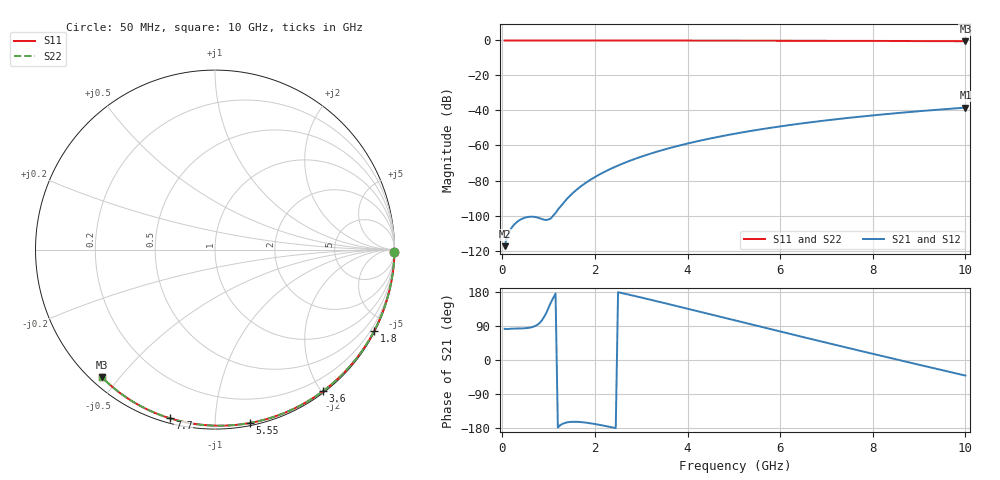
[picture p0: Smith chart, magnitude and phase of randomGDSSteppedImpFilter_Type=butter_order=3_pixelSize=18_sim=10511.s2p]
! freq	dB(S11)	phase(S11)	dB(S12)	phase(S12)
!  dB(S21)	phase(S21)	dB(S22)	phase(S22)
!S-par simulation data
#  GHz  S  DB  R 50
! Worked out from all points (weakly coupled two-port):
!   200 points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, 50 MHz to 10 GHz, reference 50 ohm
!   highest |S21| = -38.39 dB at 10 GHz (marker M1); lowest = -117.5 dB at 50 MHz (marker M2)
!   lowest |S11| = -0.4 dB at 10 GHz (marker M3), VSWR 39.09, Z = 1.54 - j22.5 ohm
!   |S11| at or under -10 dB: nowhere
!   |S22| runs from -0.4 to 0.0 dB; largest |S21 - S12| = 0
!   S11 on the Smith chart (normalised r, x): 50 MHz: open; 1.8 GHz: 0.04, -4.17; 3.6 GHz: 0.02, -2.02; 5.55 GHz: 0.02, -1.22; 7.7 GHz: 0.02, -0.77; 10 GHz: 0.03, -0.45
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0.05  -0.00 -0.8  -117.51 82.2  -117.51 82.2  -0.00 -0.8
0.9  -0.02 -13.6  -102.35 113.2  -102.35 113.2  -0.02 -13.6
1.75  -0.03 -26.2  -82.30 -164.5  -82.30 -164.5  -0.03 -26.2
1.8  -0.03 -26.9  -81.37 -165.2  -81.37 -165.2  -0.03 -26.9
1.85  -0.04 -27.7  -80.48 -166.0  -80.48 -166.0  -0.04 -27.7
1.9  -0.04 -28.4  -79.63 -166.9  -79.63 -166.9  -0.04 -28.4
2.05  -0.04 -30.6  -77.27 -170.0  -77.27 -170.0  -0.04 -30.6
2.25  -0.04 -33.5  -74.48 -174.7  -74.48 -174.7  -0.04 -33.5
2.45  -0.05 -36.4  -72.01 -179.8  -72.01 -179.8  -0.05 -36.4
2.65  -0.05 -39.3  -69.79 174.8  -69.79 174.8  -0.05 -39.3
3  -0.06 -44.3  -66.39 164.9  -66.39 164.9  -0.06 -44.3
3.4  -0.07 -49.9  -63.05 153.2  -63.05 153.2  -0.07 -49.9
3.6  -0.07 -52.7  -61.56 147.3  -61.56 147.3  -0.07 -52.7
4.3  -0.09 -62.3  -57.06 126.3  -57.06 126.3  -0.09 -62.2
5.05  -0.11 -72.2  -53.13 103.8  -53.13 103.8  -0.11 -72.2
5.55  -0.13 -78.7  -50.89 88.7  -50.89 88.7  -0.13 -78.7
6.1  -0.15 -85.6  -48.71 72.3  -48.71 72.3  -0.15 -85.6
6.7  -0.18 -93.1  -46.61 54.4  -46.61 54.4  -0.18 -93.1
7.7  -0.24 -105.1  -43.60 25.0  -43.60 25.0  -0.24 -105.1
8.35  -0.29 -112.7  -41.92 6.2  -41.92 6.2  -0.29 -112.7
9.15  -0.36 -121.8  -40.09 -16.8  -40.09 -16.8  -0.36 -121.8
10  -0.44 -131.5  -38.39 -41.1  -38.39 -41.1  -0.44 -131.4
